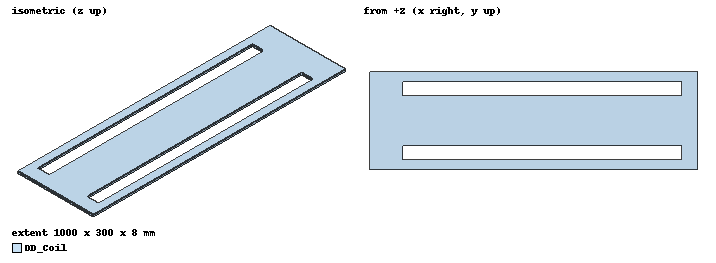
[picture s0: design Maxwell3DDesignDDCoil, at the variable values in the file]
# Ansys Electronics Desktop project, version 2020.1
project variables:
  $P1 = 10mm
  $track_width = 300mm
  $parameter_1 = 150mm  # description 1
  $parameter_2 = 30mm
  $box_width = ($track_width - 2*$parameter_2 - $parameter_1) / 2
  $coil_diameter = 8mm
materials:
  vacuum: permittivity=1

design Maxwell3DDesignDDCoil (Maxwell 3D, Magnetostatic, model units mm)
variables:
  b1_y = 50mm
  box1width = 30mm
  box2width = $box_width
  coil_diameter = $coil_diameter
  P_2 = $parameter_2
  P_1 = ($parameter_1) / 2
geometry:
  DD_Coil [vacuum] = box(corner=(0mm, 0mm, 0mm), size=(1000mm, 300mm, coil_diameter))
  Box3 = box(corner=(100mm, P_2, 0mm), size=(850mm, box2width, coil_diameter))
  Polyline1 = polyline((0mm, 150mm, 8mm) (1000mm, 150mm, 8mm))
  Box3_1 = Box3.duplicate_mirror(point=(100mm, 150mm, 0mm), normal=(0mm, -1mm, 0mm))
  DD_Coil.subtract(Box3, Box3_1)
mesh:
  initial mesh: GlobalCurvilinear{Apply}
